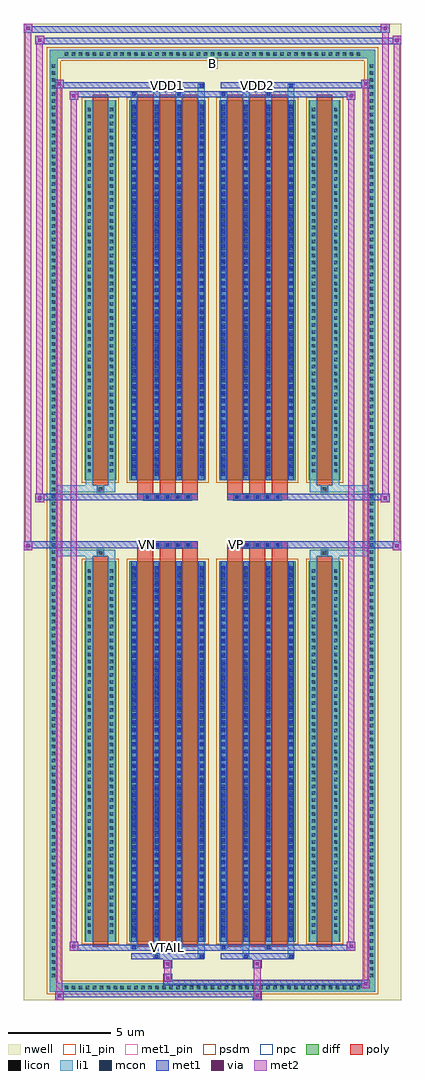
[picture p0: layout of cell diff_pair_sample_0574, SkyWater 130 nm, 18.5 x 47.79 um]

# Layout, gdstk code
import gdstk
lib = gdstk.Library(unit=1e-6, precision=5e-09)
def R(c, l, rs):  # rectangles x0, y0, x1, y1
    for r in rs: c.add(gdstk.rectangle(r[:2], r[2:], *l))
def A(c, l, x, y, w, h, nx, ny, dx, dy):  # array of equal rectangles
    R(c, l, [(x+i*dx, y+j*dy, x+i*dx+w, y+j*dy+h) for i in range(nx) for j in range(ny)])
def P(c, l, *ps):  # polygons
    for p in ps: c.add(gdstk.Polygon(p, *l))
nwell = (64, 20)
diff = (65, 20)
poly = (66, 20)
licon = (66, 44)
li1_pin = (67, 16)
li1 = (67, 20)
mcon = (67, 44)
met1_pin = (68, 16)
met1 = (68, 20)
via = (68, 44)
met2 = (69, 20)
psdm = (94, 20)
npc = (95, 20)

diff_pair_sample_0574 = lib.new_cell('diff_pair_sample_0574')
R(diff_pair_sample_0574, nwell, [(-9.25,-23.46,9.25,24.33), (-6.57,-21.65,-0.01,-0.805), (0.01,-21.65,6.57,-0.805), (-6.57,0.805,-0.01,21.65), (0.01,0.805,6.57,21.65)])
A(diff_pair_sample_0574, diff, -7.345, -23.06, 0.41, 0.41, 43, 2, 0.34, 45.71)
A(diff_pair_sample_0574, diff, -7.98, -22.475, 0.41, 0.41, 1, 132, 0, 0.34)
A(diff_pair_sample_0574, diff, 7.57, -22.475, 0.41, 0.41, 1, 132, 0, 0.34)
R(diff_pair_sample_0574, diff, [(-7.345,-23.06,7.345,-22.65), (-7.98,-22.475,-7.57,22.475), (7.57,-22.475,7.98,22.475), (-6.26,-20.605,-4.71,-1.985), (-4.07,-20.605,-0.32,-1.985), (0.32,-20.605,4.07,-1.985), (4.71,-20.605,6.26,-1.985), (-6.26,1.985,-4.71,20.605), (-4.07,1.985,-0.32,20.605), (0.32,1.985,4.07,20.605), (4.71,1.985,6.26,20.605), (-7.345,22.65,7.345,23.06)])
P(diff_pair_sample_0574, diff, [(7.98,23.06),(-7.98,23.06),(-7.98,-22.65),(-7.57,-22.65),(-7.57,22.65),(7.57,22.65),(7.57,-22.65),(-7.57,-22.65),(-7.98,-22.65),(-7.98,-23.06),(7.98,-23.06)])
A(diff_pair_sample_0574, poly, -3.68, -20.855, 0.77, 19.12, 3, 2, 1.1, 22.59)
A(diff_pair_sample_0574, poly, 0.71, -20.855, 0.77, 19.12, 3, 2, 1.1, 22.59)
A(diff_pair_sample_0574, poly, -3.68, -1.735, 0.77, 0.4, 3, 2, 1.1, 3.07)
A(diff_pair_sample_0574, poly, 0.71, -1.735, 0.77, 0.4, 3, 2, 1.1, 3.07)
A(diff_pair_sample_0574, poly, -3.36, -1.335, 0.33, 0.33, 5, 2, 0.5, 2.34)
A(diff_pair_sample_0574, poly, 1.03, -1.335, 0.33, 0.33, 5, 2, 0.5, 2.34)
R(diff_pair_sample_0574, poly, [(-5.87,-20.855,-5.1,-1.735), (5.1,-20.855,5.87,-1.735), (-5.65,-1.735,-5.32,-1.405), (-5.65,-1.735,-5.32,-1.405), (5.32,-1.735,5.65,-1.405), (5.32,-1.735,5.65,-1.405), (-3.68,-1.335,-0.71,-1.005), (0.71,-1.335,3.68,-1.005), (-3.68,1.005,-0.71,1.335), (0.71,1.005,3.68,1.335), (-5.65,1.405,-5.32,1.735), (-5.65,1.405,-5.32,1.735), (5.32,1.405,5.65,1.735), (5.32,1.405,5.65,1.735), (-5.87,1.735,-5.1,20.855), (5.1,1.735,5.87,20.855)])
A(diff_pair_sample_0574, licon, -7.225, -22.94, 0.17, 0.17, 43, 2, 0.34, 45.71)
A(diff_pair_sample_0574, licon, -7.86, -22.355, 0.17, 0.17, 1, 132, 0, 0.34)
A(diff_pair_sample_0574, licon, 7.69, -22.355, 0.17, 0.17, 1, 132, 0, 0.34)
A(diff_pair_sample_0574, licon, -6.12, -20.22, 0.17, 0.17, 1, 53, 0, 0.34)
A(diff_pair_sample_0574, licon, -5.02, -20.22, 0.17, 0.17, 1, 53, 0, 0.34)
A(diff_pair_sample_0574, licon, -3.93, -20.22, 0.17, 0.17, 4, 53, 1.1, 0.34)
A(diff_pair_sample_0574, licon, 0.46, -20.22, 0.17, 0.17, 4, 53, 1.1, 0.34)
A(diff_pair_sample_0574, licon, 4.85, -20.22, 0.17, 0.17, 1, 53, 0, 0.34)
A(diff_pair_sample_0574, licon, 5.95, -20.22, 0.17, 0.17, 1, 53, 0, 0.34)
A(diff_pair_sample_0574, licon, -3.28, -1.255, 0.17, 0.17, 5, 2, 0.5, 2.34)
A(diff_pair_sample_0574, licon, 1.11, -1.255, 0.17, 0.17, 5, 2, 0.5, 2.34)
A(diff_pair_sample_0574, licon, -6.12, 2.37, 0.17, 0.17, 1, 53, 0, 0.34)
A(diff_pair_sample_0574, licon, -5.02, 2.37, 0.17, 0.17, 1, 53, 0, 0.34)
A(diff_pair_sample_0574, licon, -3.93, 2.37, 0.17, 0.17, 4, 53, 1.1, 0.34)
A(diff_pair_sample_0574, licon, 0.46, 2.37, 0.17, 0.17, 4, 53, 1.1, 0.34)
A(diff_pair_sample_0574, licon, 4.85, 2.37, 0.17, 0.17, 1, 53, 0, 0.34)
A(diff_pair_sample_0574, licon, 5.95, 2.37, 0.17, 0.17, 1, 53, 0, 0.34)
R(diff_pair_sample_0574, licon, [(-5.57,-1.655,-5.4,-1.485), (5.4,-1.655,5.57,-1.485), (-5.57,1.485,-5.4,1.655), (5.4,1.485,5.57,1.655)])
R(diff_pair_sample_0574, li1_pin, [(-0.25,22.15,0.25,22.65)])
A(diff_pair_sample_0574, li1, -7.305, -23.02, 0.33, 0.33, 43, 2, 0.34, 45.71)
A(diff_pair_sample_0574, li1, -7.94, -22.435, 0.33, 0.33, 1, 132, 0, 0.34)
A(diff_pair_sample_0574, li1, 7.61, -22.435, 0.33, 0.33, 1, 132, 0, 0.34)
A(diff_pair_sample_0574, li1, -4.01, -20.605, 0.33, 18.62, 4, 2, 1.1, 22.59)
A(diff_pair_sample_0574, li1, 0.38, -20.605, 0.33, 18.62, 4, 2, 1.1, 22.59)
A(diff_pair_sample_0574, li1, -3.93, -20.38, 0.17, 0.17, 4, 51, 1.1, 0.36)
A(diff_pair_sample_0574, li1, -3.93, -20.38, 0.17, 18.17, 4, 2, 1.1, 22.59)
A(diff_pair_sample_0574, li1, 0.46, -20.38, 0.17, 0.17, 4, 51, 1.1, 0.36)
A(diff_pair_sample_0574, li1, 0.46, -20.38, 0.17, 18.17, 4, 2, 1.1, 22.59)
A(diff_pair_sample_0574, li1, -6.2, -20.3, 0.33, 0.33, 1, 53, 0, 0.34)
A(diff_pair_sample_0574, li1, -5.1, -20.3, 0.33, 0.33, 1, 53, 0, 0.34)
A(diff_pair_sample_0574, li1, -4.01, -20.3, 0.33, 0.33, 4, 53, 1.1, 0.34)
A(diff_pair_sample_0574, li1, 0.38, -20.3, 0.33, 0.33, 4, 53, 1.1, 0.34)
A(diff_pair_sample_0574, li1, 4.77, -20.3, 0.33, 0.33, 1, 53, 0, 0.34)
A(diff_pair_sample_0574, li1, 5.87, -20.3, 0.33, 0.33, 1, 53, 0, 0.34)
A(diff_pair_sample_0574, li1, -3.36, -1.335, 0.33, 0.33, 5, 2, 0.5, 2.34)
A(diff_pair_sample_0574, li1, 1.03, -1.335, 0.33, 0.33, 5, 2, 0.5, 2.34)
A(diff_pair_sample_0574, li1, -3.93, 2.21, 0.17, 0.17, 4, 51, 1.1, 0.36)
A(diff_pair_sample_0574, li1, 0.46, 2.21, 0.17, 0.17, 4, 51, 1.1, 0.36)
A(diff_pair_sample_0574, li1, -6.2, 2.29, 0.33, 0.33, 1, 53, 0, 0.34)
A(diff_pair_sample_0574, li1, -5.1, 2.29, 0.33, 0.33, 1, 53, 0, 0.34)
A(diff_pair_sample_0574, li1, -4.01, 2.29, 0.33, 0.33, 4, 53, 1.1, 0.34)
A(diff_pair_sample_0574, li1, 0.38, 2.29, 0.33, 0.33, 4, 53, 1.1, 0.34)
A(diff_pair_sample_0574, li1, 4.77, 2.29, 0.33, 0.33, 1, 53, 0, 0.34)
A(diff_pair_sample_0574, li1, 5.87, 2.29, 0.33, 0.33, 1, 53, 0, 0.34)
R(diff_pair_sample_0574, li1, [(-7.98,-23.06,-7.57,-22.65), (-7.98,-23.06,-7.57,-22.65), (-7.57,-23.06,7.57,-22.65), (7.57,-23.06,7.98,-22.65), (7.57,-23.06,7.98,-22.65), (-7.98,-22.65,-7.57,22.65), (7.57,-22.65,7.98,22.65), (-2.91,-21.41,-2.58,-20.605), (-2.83,-21.41,-2.66,-21.24), (-0.71,-21.41,-0.38,-20.605), (-0.63,-21.41,-0.46,-21.24), (1.48,-21.41,1.81,-20.605), (1.56,-21.41,1.73,-21.24), (3.68,-21.41,4.01,-20.605), (3.76,-21.41,3.93,-21.24), (-4.01,-20.98,-3.68,-20.605), (-3.93,-20.98,-3.76,-20.81), (-1.81,-20.98,-1.48,-20.605), (-1.73,-20.98,-1.56,-20.81), (0.38,-20.98,0.71,-20.605), (0.46,-20.98,0.63,-20.81), (2.58,-20.98,2.91,-20.605), (2.66,-20.98,2.83,-20.81), (-6.2,-20.605,-5.87,-1.985), (-5.1,-20.605,-4.77,-1.985), (4.77,-20.605,5.1,-1.985), (5.87,-20.605,6.2,-1.985), (-6.2,-1.985,-5.87,-1.405), (-5.1,-1.985,-4.77,-1.405), (4.77,-1.985,5.1,-1.405), (5.87,-1.985,6.2,-1.405), (-7.98,-1.735,-5.65,-1.405), (-6.2,-1.735,-5.65,-1.405), (-5.65,-1.735,-5.32,-1.405), (-5.32,-1.735,-4.77,-1.405), (4.77,-1.735,5.32,-1.405), (5.32,-1.735,5.65,-1.405), (5.32,-1.735,7.98,-1.405), (5.65,-1.735,6.2,-1.405), (-7.98,1.405,-5.65,1.735), (-6.2,1.405,-5.65,1.735), (-6.2,1.405,-5.87,1.985), (-5.65,1.405,-5.32,1.735), (-5.32,1.405,-4.77,1.735), (-5.1,1.405,-4.77,1.985), (4.77,1.405,5.32,1.735), (4.77,1.405,5.1,1.985), (5.32,1.405,5.65,1.735), (5.32,1.405,7.98,1.735), (5.65,1.405,6.2,1.735), (5.87,1.405,6.2,1.985), (-6.2,1.985,-5.87,20.605), (-5.1,1.985,-4.77,20.605), (4.77,1.985,5.1,20.605), (5.87,1.985,6.2,20.605), (-4.01,20.605,-3.68,20.98), (-2.91,20.605,-2.58,21.41), (-1.81,20.605,-1.48,20.98), (-0.71,20.605,-0.38,21.41), (0.38,20.605,0.71,20.98), (1.48,20.605,1.81,21.41), (2.58,20.605,2.91,20.98), (3.68,20.605,4.01,21.41), (-3.93,20.81,-3.76,20.98), (-1.73,20.81,-1.56,20.98), (0.46,20.81,0.63,20.98), (2.66,20.81,2.83,20.98), (-2.83,21.24,-2.66,21.41), (-0.63,21.24,-0.46,21.41), (1.56,21.24,1.73,21.41), (3.76,21.24,3.93,21.41), (-7.98,22.65,-7.57,23.06), (-7.98,22.65,-7.57,23.06), (-7.57,22.65,7.57,23.06), (7.57,22.65,7.98,23.06), (7.57,22.65,7.98,23.06)])
A(diff_pair_sample_0574, mcon, -3.93, -20.38, 0.17, 0.17, 4, 51, 1.1, 0.36)
A(diff_pair_sample_0574, mcon, 0.46, -20.38, 0.17, 0.17, 4, 51, 1.1, 0.36)
A(diff_pair_sample_0574, mcon, -3.28, -1.255, 0.17, 0.17, 5, 2, 0.5, 2.34)
A(diff_pair_sample_0574, mcon, 1.11, -1.255, 0.17, 0.17, 5, 2, 0.5, 2.34)
A(diff_pair_sample_0574, mcon, -3.93, 2.21, 0.17, 0.17, 4, 51, 1.1, 0.36)
A(diff_pair_sample_0574, mcon, 0.46, 2.21, 0.17, 0.17, 4, 51, 1.1, 0.36)
R(diff_pair_sample_0574, mcon, [(-2.83,-21.41,-2.66,-21.24), (-0.63,-21.41,-0.46,-21.24), (1.56,-21.41,1.73,-21.24), (3.76,-21.41,3.93,-21.24), (-3.93,-20.98,-3.76,-20.81), (-1.73,-20.98,-1.56,-20.81), (0.46,-20.98,0.63,-20.81), (2.66,-20.98,2.83,-20.81), (-3.93,20.81,-3.76,20.98), (-1.73,20.81,-1.56,20.98), (0.46,20.81,0.63,20.98), (2.66,20.81,2.83,20.98), (-2.83,21.24,-2.66,21.41), (-0.63,21.24,-0.46,21.41), (1.56,21.24,1.73,21.41), (3.76,21.24,3.93,21.41)])
R(diff_pair_sample_0574, met1_pin, [(-2.33,-21.02,-2.06,-20.75), (-3.33,-1.295,-3.06,-1.025), (1.06,-1.295,1.33,-1.025), (-2.33,21.2,-2.06,21.47), (2.06,21.2,2.33,21.47)])
A(diff_pair_sample_0574, met1, -3.99, -20.605, 0.29, 18.62, 4, 2, 1.1, 22.59)
A(diff_pair_sample_0574, met1, 0.4, -20.605, 0.29, 18.62, 4, 2, 1.1, 22.59)
A(diff_pair_sample_0574, met1, -3.99, -20.44, 0.29, 0.29, 4, 51, 1.1, 0.36)
A(diff_pair_sample_0574, met1, 0.4, -20.44, 0.29, 0.29, 4, 51, 1.1, 0.36)
A(diff_pair_sample_0574, met1, -3.34, -1.315, 0.29, 0.29, 5, 2, 0.5, 2.34)
A(diff_pair_sample_0574, met1, 1.05, -1.315, 0.29, 0.29, 5, 2, 0.5, 2.34)
A(diff_pair_sample_0574, met1, -3.99, 2.15, 0.29, 0.29, 4, 51, 1.1, 0.36)
A(diff_pair_sample_0574, met1, 0.4, 2.15, 0.29, 0.29, 4, 51, 1.1, 0.36)
R(diff_pair_sample_0574, met1, [(-7.71,-23.46,-7.28,-23.03), (1.98,-23.46,2.41,-23.03), (-7.71,-23.32,2.41,-23.03), (7.28,-22.89,7.71,-22.46), (-2.41,-22.75,7.71,-22.46), (-2.41,-22.61,-1.98,-22.18), (-2.41,-21.9,-1.98,-21.47), (1.98,-21.9,2.41,-21.47), (-3.99,-21.47,-0.4,-21.18), (-2.89,-21.47,-2.6,-21.18), (-0.69,-21.47,-0.4,-21.18), (0.4,-21.47,3.99,-21.18), (1.5,-21.47,1.79,-21.18), (3.7,-21.47,3.99,-21.18), (-7,-21.04,-6.57,-20.61), (-7,-21.04,-3.99,-20.75), (-3.99,-21.04,-3.7,-20.75), (-3.99,-21.04,-0.4,-20.75), (-1.79,-21.04,-1.5,-20.75), (-0.4,-21.04,0.4,-20.75), (0.4,-21.04,0.69,-20.75), (0.4,-21.04,3.99,-20.75), (2.6,-21.04,2.89,-20.75), (3.99,-21.04,7,-20.75), (6.57,-21.04,7,-20.61), (-9.25,-1.435,-8.82,-1.005), (8.82,-1.435,9.25,-1.005), (-9.25,-1.335,-0.71,-1.005), (-3.68,-1.335,-0.71,-1.005), (0.71,-1.335,3.68,-1.005), (0.71,-1.335,9.25,-1.005), (-8.68,0.905,-8.25,1.335), (8.25,0.905,8.68,1.335), (-8.68,1.005,-3.68,1.335), (-3.68,1.005,-0.71,1.335), (0.71,1.005,3.68,1.335), (3.68,1.005,8.68,1.335), (-7,20.61,-6.57,21.04), (6.57,20.61,7,21.04), (-7,20.75,-3.99,21.04), (-3.99,20.75,-3.7,21.04), (-3.99,20.75,-0.4,21.04), (-1.79,20.75,-1.5,21.04), (-0.4,20.75,0.4,21.04), (0.4,20.75,0.69,21.04), (0.4,20.75,3.99,21.04), (2.6,20.75,2.89,21.04), (3.99,20.75,7,21.04), (-7.71,21.18,-7.28,21.61), (-7.71,21.18,-3.99,21.47), (-3.99,21.18,-0.4,21.47), (-2.89,21.18,-2.6,21.47), (-0.69,21.18,-0.4,21.47), (0.4,21.18,3.99,21.47), (1.5,21.18,1.79,21.47), (3.7,21.18,3.99,21.47), (3.99,21.18,7.71,21.47), (7.28,21.18,7.71,21.61), (-8.68,23.33,-8.25,23.76), (-8.68,23.33,-6.57,23.66), (-6.57,23.33,6.57,23.66), (6.57,23.33,9.25,23.66), (8.82,23.33,9.25,23.76), (-9.25,23.9,-8.82,24.33), (-9.25,23.9,-6.57,24.23), (-6.57,23.9,6.57,24.23), (6.57,23.9,8.68,24.23), (8.25,23.9,8.68,24.33)])
R(diff_pair_sample_0574, via, [(-7.57,-23.32,-7.42,-23.17), (2.12,-23.32,2.27,-23.17), (7.42,-22.75,7.57,-22.6), (-2.27,-22.47,-2.12,-22.32), (-2.27,-21.76,-2.12,-21.61), (2.12,-21.76,2.27,-21.61), (-6.86,-20.9,-6.71,-20.75), (6.71,-20.9,6.86,-20.75), (-9.11,-1.295,-8.96,-1.145), (8.96,-1.295,9.11,-1.145), (-8.54,1.045,-8.39,1.195), (8.39,1.045,8.54,1.195), (-6.86,20.75,-6.71,20.9), (6.71,20.75,6.86,20.9), (-7.57,21.32,-7.42,21.47), (7.42,21.32,7.57,21.47), (-8.54,23.47,-8.39,23.62), (8.96,23.47,9.11,23.62), (-9.11,24.04,-8.96,24.19), (8.39,24.04,8.54,24.19)])
R(diff_pair_sample_0574, met2, [(-7.71,-23.46,-7.28,-23.03), (-7.64,-23.46,-7.35,21.61), (-7.35,-23.46,-7.28,-23.03), (-7.66,-23.41,-7.33,-23.08), (2.03,-23.41,2.36,-23.08), (2.03,-23.08,2.36,-21.85), (7.28,-22.89,7.71,-22.46), (7.35,-22.89,7.64,21.61), (7.64,-22.89,7.71,-22.46), (7.33,-22.84,7.66,-22.51), (-2.36,-22.56,-2.03,-22.23), (-2.36,-22.23,-2.03,-21.85), (-2.36,-21.85,-2.03,-21.52), (2.03,-21.85,2.36,-21.52), (-7,-21.04,-6.57,-20.61), (-6.93,-21.04,-6.64,21.04), (-6.64,-21.04,-6.57,-20.61), (6.57,-21.04,7,-20.61), (6.64,-21.04,6.93,21.04), (6.93,-21.04,7,-20.61), (-6.95,-20.99,-6.62,-20.66), (6.62,-20.99,6.95,-20.66), (-9.25,-1.435,-8.82,-1.005), (-9.2,-1.435,-8.87,24.33), (-8.87,-1.435,-8.82,-1.005), (8.82,-1.435,9.25,-1.005), (8.87,-1.435,9.2,23.76), (9.2,-1.435,9.25,-1.005), (-9.2,-1.385,-8.87,-1.055), (8.87,-1.385,9.2,-1.055), (-8.68,0.905,-8.25,1.335), (-8.63,0.905,-8.3,23.76), (-8.3,0.905,-8.25,1.335), (8.25,0.905,8.68,1.335), (8.3,0.905,8.63,24.33), (8.63,0.905,8.68,1.335), (-8.63,0.955,-8.3,1.285), (8.3,0.955,8.63,1.285), (-7,20.61,-6.57,21.04), (-6.64,20.61,-6.57,21.04), (6.57,20.61,7,21.04), (6.93,20.61,7,21.04), (-6.95,20.66,-6.62,20.99), (6.62,20.66,6.95,20.99), (-7.71,21.18,-7.28,21.61), (-7.35,21.18,-7.28,21.61), (7.28,21.18,7.71,21.61), (7.64,21.18,7.71,21.61), (-7.66,21.23,-7.33,21.56), (7.33,21.23,7.66,21.56), (-8.68,23.33,-8.25,23.76), (-8.3,23.33,-8.25,23.76), (8.82,23.33,9.25,23.76), (9.2,23.33,9.25,23.76), (-8.63,23.38,-8.3,23.71), (8.87,23.38,9.2,23.71), (-9.25,23.9,-8.82,24.33), (-8.87,23.9,-8.82,24.33), (8.25,23.9,8.68,24.33), (8.63,23.9,8.68,24.33), (-9.2,23.95,-8.87,24.28), (8.3,23.95,8.63,24.28)])
R(diff_pair_sample_0574, psdm, [(-6.39,-20.735,-4.58,-1.855), (-4.2,-20.735,-0.19,-1.855), (0.19,-20.735,4.2,-1.855), (4.58,-20.735,6.39,-1.855), (-6.39,1.855,-4.58,20.735), (-4.2,1.855,-0.19,20.735), (0.19,1.855,4.2,20.735), (4.58,1.855,6.39,20.735)])
P(diff_pair_sample_0574, psdm, [(8.11,23.19),(-8.11,23.19),(-8.11,-22.52),(-7.44,-22.52),(-7.44,22.52),(7.44,22.52),(7.44,-22.52),(-7.44,-22.52),(-8.11,-22.52),(-8.11,-23.19),(8.11,-23.19)])
A(diff_pair_sample_0574, npc, -3.38, -1.355, 0.37, 0.37, 5, 2, 0.5, 2.34)
A(diff_pair_sample_0574, npc, 1.01, -1.355, 0.37, 0.37, 5, 2, 0.5, 2.34)
R(diff_pair_sample_0574, npc, [(-5.67,-1.755,-5.3,-1.385), (5.3,-1.755,5.67,-1.385), (-3.38,-1.355,-2.51,-0.985), (-3.38,-1.355,-2.51,-0.985), (-2.88,-1.355,-2.01,-0.985), (-2.88,-1.355,-2.01,-0.985), (-2.38,-1.355,-1.51,-0.985), (-2.38,-1.355,-1.51,-0.985), (-1.88,-1.355,-1.01,-0.985), (-1.88,-1.355,-1.01,-0.985), (1.01,-1.355,1.88,-0.985), (1.01,-1.355,1.88,-0.985), (1.51,-1.355,2.38,-0.985), (1.51,-1.355,2.38,-0.985), (2.01,-1.355,2.88,-0.985), (2.01,-1.355,2.88,-0.985), (2.51,-1.355,3.38,-0.985), (2.51,-1.355,3.38,-0.985), (-3.38,0.985,-2.51,1.355), (-3.38,0.985,-2.51,1.355), (-2.88,0.985,-2.01,1.355), (-2.88,0.985,-2.01,1.355), (-2.38,0.985,-1.51,1.355), (-2.38,0.985,-1.51,1.355), (-1.88,0.985,-1.01,1.355), (-1.88,0.985,-1.01,1.355), (1.01,0.985,1.88,1.355), (1.01,0.985,1.88,1.355), (1.51,0.985,2.38,1.355), (1.51,0.985,2.38,1.355), (2.01,0.985,2.88,1.355), (2.01,0.985,2.88,1.355), (2.51,0.985,3.38,1.355), (2.51,0.985,3.38,1.355), (-5.67,1.385,-5.3,1.755), (5.3,1.385,5.67,1.755)])
diff_pair_sample_0574.add(gdstk.Label('VTAIL', (-2.195,-20.885), layer=68, texttype=5))
diff_pair_sample_0574.add(gdstk.Label('VN', (-3.195,-1.16), layer=68, texttype=5))
diff_pair_sample_0574.add(gdstk.Label('VP', (1.195,-1.16), layer=68, texttype=5))
diff_pair_sample_0574.add(gdstk.Label('B', (0,22.4), layer=67, texttype=5))
diff_pair_sample_0574.add(gdstk.Label('VDD2', (2.195,21.335), layer=68, texttype=5))
diff_pair_sample_0574.add(gdstk.Label('VDD1', (-2.195,21.335), layer=68, texttype=5))

lib.write_gds('diff_pair_sample_0574.gds')
